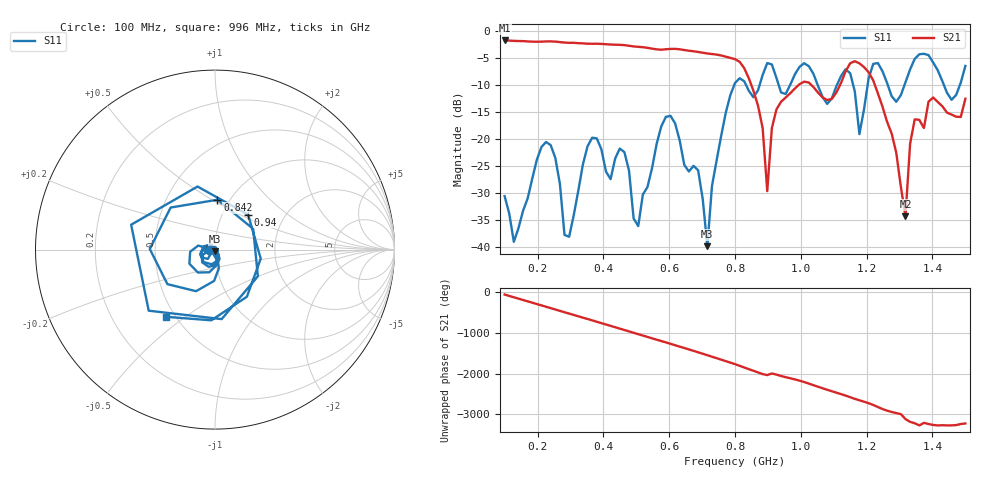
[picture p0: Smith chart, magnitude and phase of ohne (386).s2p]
! NanoVNA-App
! Date: 2025-09-25 14:23:48
! Start: 100MHz Stop: 1,5GHz Points: 101
! S-Parameter data: F S11 S21 S12 S22
# Hz S RI R 50
!  Frequency  S11_Real  S11_Imag  S21_Real  S21_Imag  S12_Real  S12_Imag  S22_Real  S22_Imag
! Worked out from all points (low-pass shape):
!   101 points, 100 MHz to 1.5 GHz, reference 50 ohm
!   highest |S21| = -1.79 dB at 100 MHz (marker M1); lowest = -34.4 dB at 1.318 GHz (marker M2)
!   |S21| within 3 dB of the highest: start of sweep to 771.4 MHz
!   lowest |S11| = -39.9 dB at 716 MHz (marker M3), VSWR 1.02, Z = 49.8 - j0.986 ohm
!   |S11| at or under -10 dB: start of sweep to 798 MHz; 833.1 MHz to 875 MHz (41.93 MHz wide, 4.91 % of centre); 1.051 GHz to 1.11 GHz (59.22 MHz wide, 5.48 % of centre)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
!   S12 and S22 are empty: the file has one direction only
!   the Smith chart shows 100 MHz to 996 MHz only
!   S11 on the Smith chart (normalised r, x): 100 MHz: 0.94, -0.01; 842 MHz: 0.88, +0.53; 940 MHz: 1.32, +0.55; 996 MHz: 0.45, -0.43
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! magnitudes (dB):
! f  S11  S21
! 100 MHz  -30.6  -1.8
! 128 MHz  -39.1  -1.9
! 226 MHz  -20.6  -2.0
! 296 MHz  -38.2  -2.2
! 338 MHz  -24.7  -2.3
! 464 MHz  -22.5  -2.7
! 506 MHz  -36.2  -3.0
! 576 MHz  -17.7  -3.5
! 688 MHz  -25.9  -3.9
! 716 MHz  -39.9  -4.2
! 800 MHz  -9.7  -5.3
! 842 MHz  -11.1  -8.8
! 898 MHz  -6.0  -29.7
! 940 MHz  -11.4  -13.1
! 996 MHz  -6.7  -9.9
! 1.038 GHz  -7.9  -10.4
! 1.178 GHz  -19.2  -6.0
! 1.22 GHz  -6.1  -9.2
! 1.276 GHz  -12.1  -19.0
! 1.318 GHz  -9.5  -34.4
! 1.346 GHz  -5.2  -16.4
! 1.5 GHz  -6.5  -12.6
